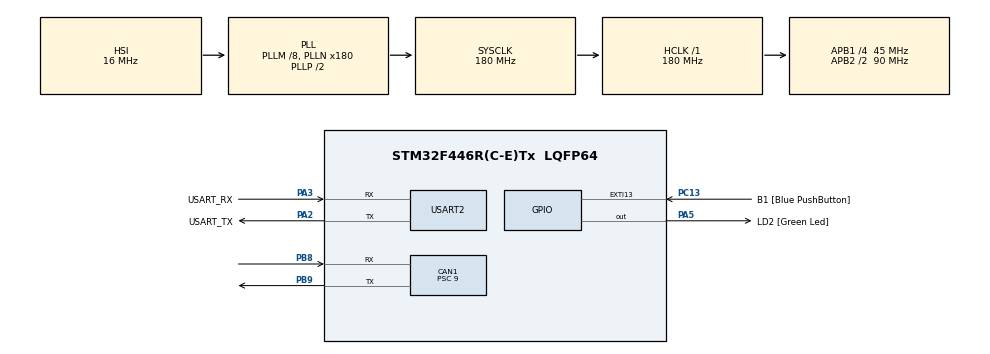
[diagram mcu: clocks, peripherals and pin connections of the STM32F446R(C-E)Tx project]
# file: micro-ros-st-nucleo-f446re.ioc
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CAN1.ABOM=ENABLE
CAN1.BS1=CAN_BS1_2TQ
CAN1.BS2=CAN_BS2_2TQ
CAN1.CalculateBaudRate=1000000
CAN1.CalculateTimeBit=1000
CAN1.CalculateTimeQuantum=200.0
CAN1.Prescaler=9
Dma.Request0=USART2_RX
Dma.Request1=USART2_TX
Dma.USART2_RX.0.Direction=DMA_PERIPH_TO_MEMORY
Dma.USART2_RX.0.FIFOMode=DMA_FIFOMODE_DISABLE
Dma.USART2_RX.0.Instance=DMA1_Stream5
Dma.USART2_RX.0.MemDataAlignment=DMA_MDATAALIGN_BYTE
Dma.USART2_RX.0.MemInc=DMA_MINC_ENABLE
Dma.USART2_RX.0.Mode=DMA_CIRCULAR
Dma.USART2_RX.0.PeriphDataAlignment=DMA_PDATAALIGN_BYTE
Dma.USART2_RX.0.PeriphInc=DMA_PINC_DISABLE
Dma.USART2_RX.0.Priority=DMA_PRIORITY_VERY_HIGH
Dma.USART2_TX.1.Direction=DMA_MEMORY_TO_PERIPH
Dma.USART2_TX.1.FIFOMode=DMA_FIFOMODE_DISABLE
Dma.USART2_TX.1.Instance=DMA1_Stream6
Dma.USART2_TX.1.MemDataAlignment=DMA_MDATAALIGN_BYTE
Dma.USART2_TX.1.MemInc=DMA_MINC_ENABLE
Dma.USART2_TX.1.Mode=DMA_NORMAL
Dma.USART2_TX.1.PeriphDataAlignment=DMA_PDATAALIGN_BYTE
Dma.USART2_TX.1.PeriphInc=DMA_PINC_DISABLE
Dma.USART2_TX.1.Priority=DMA_PRIORITY_LOW
FREERTOS.Tasks01=defaultTask,24,3000,StartDefaultTask,Default,NULL,Dynamic,NULL,NULL
FREERTOS.configUSE_NEWLIB_REENTRANT=1
Mcu.Family=STM32F4
Mcu.Name=STM32F446R(C-E)Tx
Mcu.Package=LQFP64
NVIC.CAN1_RX0_IRQn=true\:5\:0\:false\:false\:true\:true\:true\:true\:true
NVIC.DMA1_Stream5_IRQn=true\:5\:0\:false\:false\:true\:true\:false\:true\:true
NVIC.DMA1_Stream6_IRQn=true\:5\:0\:false\:false\:true\:true\:false\:true\:true
NVIC.PriorityGroup=NVIC_PRIORITYGROUP_4
NVIC.TIM6_DAC_IRQn=true\:15\:0\:false\:false\:true\:false\:false\:true\:true
NVIC.TimeBase=TIM6_DAC_IRQn
NVIC.TimeBaseIP=TIM6
NVIC.USART2_IRQn=true\:5\:0\:false\:false\:true\:true\:true\:true\:true
PA13.GPIO_Label=TMS
PA13.Mode=Serial_Wire
PA13.Signal=SYS_JTMS-SWDIO
PA14.GPIO_Label=TCK
PA14.Mode=Serial_Wire
PA14.Signal=SYS_JTCK-SWCLK
PA2.GPIO_Label=USART_TX
PA2.Mode=Asynchronous
PA2.Signal=USART2_TX
PA3.GPIO_Label=USART_RX
PA3.Mode=Asynchronous
PA3.Signal=USART2_RX
PA5.GPIO_Label=LD2 [Green Led]
PA5.Signal=GPIO_Output
PB3.GPIO_Label=SWO
PB3.Signal=SYS_JTDO-SWO
PB8.Mode=CAN_Activate
PB8.Signal=CAN1_RX
PB9.Mode=CAN_Activate
PB9.Signal=CAN1_TX
PC13.GPIO_Label=B1 [Blue PushButton]
PC13.GPIO_ModeDefaultEXTI=GPIO_MODE_IT_FALLING
PC13.Signal=GPXTI13
PC14-OSC32_IN.Mode=LSE-External-Oscillator
PC14-OSC32_IN.Signal=RCC_OSC32_IN
PC15-OSC32_OUT.Mode=LSE-External-Oscillator
PC15-OSC32_OUT.Signal=RCC_OSC32_OUT
PH0-OSC_IN.Mode=HSE-External-Oscillator
PH0-OSC_IN.Signal=RCC_OSC_IN
PH1-OSC_OUT.Mode=HSE-External-Oscillator
PH1-OSC_OUT.Signal=RCC_OSC_OUT
ProjectManager.HeapSize=0x200
ProjectManager.StackSize=0x400
ProjectManager.TargetToolchain=STM32CubeIDE
RCC.48MHZClocksFreq_Value=84000000
RCC.AHBFreq_Value=180000000
RCC.APB1CLKDivider=RCC_HCLK_DIV4
RCC.APB1Freq_Value=45000000
RCC.APB1TimFreq_Value=90000000
RCC.APB2CLKDivider=RCC_HCLK_DIV2
RCC.APB2Freq_Value=90000000
RCC.APB2TimFreq_Value=180000000
RCC.CortexFreq_Value=180000000
RCC.FLatency-AdvancedSettings=FLASH_LATENCY_5
RCC.HCLKFreq_Value=180000000
RCC.HSE_VALUE=8000000
RCC.HSI_VALUE=16000000
RCC.PLLM=8
RCC.PLLN=180
RCC.SYSCLKFreq_VALUE=180000000
RCC.SYSCLKSource=RCC_SYSCLKSOURCE_PLLCLK
RCC.USBFreq_Value=180000000
RCC.VCOOutputFreq_Value=360000000
USART2.VirtualMode=VM_ASYNC
VP_FREERTOS_VS_CMSIS_V2.Mode=CMSIS_V2
VP_SYS_VS_tim6.Mode=TIM6
board=NUCLEO-F446RE

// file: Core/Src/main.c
/* USER CODE BEGIN Header */
/**
  ******************************************************************************
  * @file           : main.c
  * @brief          : Main program body
  ******************************************************************************
  * @attention
  *
  * <h2><center>&copy; Copyright (c) 2021 STMicroelectronics.
  * All rights reserved.</center></h2>
  *
  * This software component is licensed by ST under BSD 3-Clause license,
  * the "License"; You may not use this file except in compliance with the
  * License. You may obtain a copy of the License at:
  *                        opensource.org/licenses/BSD-3-Clause
  *
  ******************************************************************************
  */
/* USER CODE END Header */
#include "main.h"
#include "cmsis_os.h"

/* USER CODE BEGIN Includes */
#include <rcl/rcl.h>
#include <rcl/error_handling.h>
#include <rclc/rclc.h>
#include <rclc/executor.h>
#include <uxr/client/transport.h>
#include <rmw_microxrcedds_c/config.h>
#include <rmw_microros/rmw_microros.h>

#include <std_msgs/msg/string.h>
#include <sensor_msgs/msg/imu.h>
#include <std_msgs/msg/float32_multi_array.h>

#include <stdio.h>
#include <string.h>

//#include "AK_60_task.h"
/* USER CODE END Includes */

/* USER CODE BEGIN PD */
#define ARRAY_LEN 200
#define RCCHECK(fn) { rcl_ret_t temp_rc = fn; if((temp_rc != RCL_RET_OK)){printf("Failed status on line %d: %d. Aborting.\n",__LINE__,(int)temp_rc); return 1;}}
#define RCSOFTCHECK(fn) { rcl_ret_t temp_rc = fn; if((temp_rc != RCL_RET_OK)){printf("Failed status on line %d: %d. Continuing.\n",__LINE__,(int)temp_rc);}}
/* USER CODE END PD */

/* USER CODE BEGIN PM */
rcl_publisher_t publisher_string;
rcl_publisher_t publisher_imu;
std_msgs__msg__String pub_str_msg;
sensor_msgs__msg__Imu pub_imu_msg;

// ADD-ON, Define the Message Variables
rcl_subscription_t subscriber_ak60;
std_msgs__msg__Float32MultiArray sub_ak60_msg;
rcl_publisher_t publisher_ak60;
std_msgs__msg__Float32MultiArray pub_ak60_msg;
/* USER CODE END PM */

 CAN_HandleTypeDef hcan1;

UART_HandleTypeDef huart2;
DMA_HandleTypeDef hdma_usart2_rx;
DMA_HandleTypeDef hdma_usart2_tx;

/* Definitions for defaultTask */
osThreadId_t defaultTaskHandle;
const osThreadAttr_t defaultTask_attributes = {
  .name = "defaultTask",
  .stack_size = 3000 * 4,
  .priority = (osPriority_t) osPriorityNormal,
};

void SystemClock_Config(void);
static void MX_GPIO_Init(void);
static void MX_DMA_Init(void);
static void MX_USART2_UART_Init(void);
static void MX_CAN1_Init(void);
void StartDefaultTask(void *argument);

/* USER CODE BEGIN 0 */
void subscription_str_callback(const void * msgin)
{
  std_msgs__msg__String * msg = (std_msgs__msg__String *)msgin;
  pub_str_msg = *msg;
  char str[100];
  strcpy(str, msg->data.data);
  sprintf(pub_str_msg.data.data, "F446RE heard: %s", str);
  pub_str_msg.data.size = strlen(pub_str_msg.data.data);
  rcl_publish(&publisher_string, &pub_str_msg, NULL);
  debug_led();
}

void subscription_imu_callback(const void * msgin)
{
  sensor_msgs__msg__Imu * msg = (sensor_msgs__msg__Imu *)msgin;
  pub_imu_msg = *msg;
  rcl_publish(&publisher_imu, &pub_imu_msg, NULL);
  debug_led();
}

// ADD-ON, Callback function
void subscription_ak60_callback(const void *msgin)
{
  const std_msgs__msg__Float32MultiArray *msg = (const std_msgs__msg__Float32MultiArray *)msgin;

  // Copy the data to the publisher message
  memcpy(pub_ak60_msg.data.data, msg->data.data, 12 * sizeof(float));

  // Publish the data
  rcl_publish(&publisher_ak60, &pub_ak60_msg, NULL);
//  debug_led();
}

void debug_led()
{
  HAL_GPIO_WritePin(GPIOA, GPIO_PIN_5, GPIO_PIN_SET); //LED turned on
  HAL_Delay(200); //Wait for 200[ms]
  HAL_GPIO_WritePin(GPIOA, GPIO_PIN_5, GPIO_PIN_RESET); //LED turned off
  HAL_Delay(200);
}
/* USER CODE END 0 */

int main(void)
{

  /* MCU Configuration--------------------------------------------------------*/

  /* Reset of all peripherals, Initializes the Flash interface and the Systick. */
  HAL_Init();

  /* Configure the system clock */
  SystemClock_Config();

  /* Initialize all configured peripherals */
  MX_GPIO_Init();
  MX_DMA_Init();
  MX_USART2_UART_Init();
  MX_CAN1_Init();

  /* Init scheduler */
  osKernelInitialize();

  /* Create the thread(s) */
  /* creation of defaultTask */
  defaultTaskHandle = osThreadNew(StartDefaultTask, NULL, &defaultTask_attributes);

  /* USER CODE BEGIN RTOS_THREADS */
  /* add threads, ... */
//  mainTask_nHandle = osThreadNew(mainTask, NULL, &mainTask_n_attributes);
  /* USER CODE END RTOS_THREADS */

  /* Start scheduler */
  osKernelStart();

  /* We should never get here as control is now taken by the scheduler */
  /* Infinite loop */
  while (1)
  {

  }
}

void SystemClock_Config(void)
{
  RCC_OscInitTypeDef RCC_OscInitStruct = {0};
  RCC_ClkInitTypeDef RCC_ClkInitStruct = {0};

  /** Configure the main internal regulator output voltage
  */
  __HAL_RCC_PWR_CLK_ENABLE();
  __HAL_PWR_VOLTAGESCALING_CONFIG(PWR_REGULATOR_VOLTAGE_SCALE1);

  /** Initializes the RCC Oscillators according to the specified parameters
  * in the RCC_OscInitTypeDef structure.
  */
  RCC_OscInitStruct.OscillatorType = RCC_OSCILLATORTYPE_HSI;
  RCC_OscInitStruct.HSIState = RCC_HSI_ON;
  RCC_OscInitStruct.HSICalibrationValue = RCC_HSICALIBRATION_DEFAULT;
  RCC_OscInitStruct.PLL.PLLState = RCC_PLL_ON;
  RCC_OscInitStruct.PLL.PLLSource = RCC_PLLSOURCE_HSI;
  RCC_OscInitStruct.PLL.PLLM = 8;
  RCC_OscInitStruct.PLL.PLLN = 180;
  RCC_OscInitStruct.PLL.PLLP = RCC_PLLP_DIV2;
  RCC_OscInitStruct.PLL.PLLQ = 2;
  RCC_OscInitStruct.PLL.PLLR = 2;
  if (HAL_RCC_OscConfig(&RCC_OscInitStruct) != HAL_OK)
  {
    Error_Handler();
  }

  /** Activate the Over-Drive mode
  */
  if (HAL_PWREx_EnableOverDrive() != HAL_OK)
  {
    Error_Handler();
  }

  /** Initializes the CPU, AHB and APB buses clocks
  */
  RCC_ClkInitStruct.ClockType = RCC_CLOCKTYPE_HCLK|RCC_CLOCKTYPE_SYSCLK
                              |RCC_CLOCKTYPE_PCLK1|RCC_CLOCKTYPE_PCLK2;
  RCC_ClkInitStruct.SYSCLKSource = RCC_SYSCLKSOURCE_PLLCLK;
  RCC_ClkInitStruct.AHBCLKDivider = RCC_SYSCLK_DIV1;
  RCC_ClkInitStruct.APB1CLKDivider = RCC_HCLK_DIV4;
  RCC_ClkInitStruct.APB2CLKDivider = RCC_HCLK_DIV2;

  if (HAL_RCC_ClockConfig(&RCC_ClkInitStruct, FLASH_LATENCY_5) != HAL_OK)
  {
    Error_Handler();
  }
}

static void MX_CAN1_Init(void)
{

  hcan1.Instance = CAN1;
  hcan1.Init.Prescaler = 9;
  hcan1.Init.Mode = CAN_MODE_NORMAL;
  hcan1.Init.SyncJumpWidth = CAN_SJW_1TQ;
  hcan1.Init.TimeSeg1 = CAN_BS1_2TQ;
  hcan1.Init.TimeSeg2 = CAN_BS2_2TQ;
  hcan1.Init.TimeTriggeredMode = DISABLE;
  hcan1.Init.AutoBusOff = ENABLE;
  hcan1.Init.AutoWakeUp = DISABLE;
  hcan1.Init.AutoRetransmission = DISABLE;
  hcan1.Init.ReceiveFifoLocked = DISABLE;
  hcan1.Init.TransmitFifoPriority = DISABLE;
  if (HAL_CAN_Init(&hcan1) != HAL_OK)
  {
    Error_Handler();
  }

}

static void MX_USART2_UART_Init(void)
{

  huart2.Instance = USART2;
  huart2.Init.BaudRate = 115200;
  huart2.Init.WordLength = UART_WORDLENGTH_8B;
  huart2.Init.StopBits = UART_STOPBITS_1;
  huart2.Init.Parity = UART_PARITY_NONE;
  huart2.Init.Mode = UART_MODE_TX_RX;
  huart2.Init.HwFlowCtl = UART_HWCONTROL_NONE;
  huart2.Init.OverSampling = UART_OVERSAMPLING_16;
  if (HAL_UART_Init(&huart2) != HAL_OK)
  {
    Error_Handler();
  }

}

static void MX_DMA_Init(void)
{

  /* DMA controller clock enable */
  __HAL_RCC_DMA1_CLK_ENABLE();

  /* DMA interrupt init */
  /* DMA1_Stream5_IRQn interrupt configuration */
  HAL_NVIC_SetPriority(DMA1_Stream5_IRQn, 5, 0);
  HAL_NVIC_EnableIRQ(DMA1_Stream5_IRQn);
  /* DMA1_Stream6_IRQn interrupt configuration */
  HAL_NVIC_SetPriority(DMA1_Stream6_IRQn, 5, 0);
  HAL_NVIC_EnableIRQ(DMA1_Stream6_IRQn);

}

static void MX_GPIO_Init(void)
{
  GPIO_InitTypeDef GPIO_InitStruct = {0};

  /* GPIO Ports Clock Enable */
  __HAL_RCC_GPIOC_CLK_ENABLE();
  __HAL_RCC_GPIOH_CLK_ENABLE();
  __HAL_RCC_GPIOA_CLK_ENABLE();
  __HAL_RCC_GPIOB_CLK_ENABLE();

  /*Configure GPIO pin Output Level */
  HAL_GPIO_WritePin(LD2_GPIO_Port, LD2_Pin, GPIO_PIN_RESET);

  /*Configure GPIO pin : B1_Pin */
  GPIO_InitStruct.Pin = B1_Pin;
  GPIO_InitStruct.Mode = GPIO_MODE_IT_FALLING;
  GPIO_InitStruct.Pull = GPIO_NOPULL;
  HAL_GPIO_Init(B1_GPIO_Port, &GPIO_InitStruct);

  /*Configure GPIO pin : LD2_Pin */
  GPIO_InitStruct.Pin = LD2_Pin;
  GPIO_InitStruct.Mode = GPIO_MODE_OUTPUT_PP;
  GPIO_InitStruct.Pull = GPIO_NOPULL;
  GPIO_InitStruct.Speed = GPIO_SPEED_FREQ_LOW;
  HAL_GPIO_Init(LD2_GPIO_Port, &GPIO_InitStruct);

}

/* USER CODE BEGIN 4 */
bool cubemx_transport_open(struct uxrCustomTransport * transport);
bool cubemx_transport_close(struct uxrCustomTransport * transport);
size_t cubemx_transport_write(struct uxrCustomTransport* transport, const uint8_t * buf, size_t len, uint8_t * err);
size_t cubemx_transport_read(struct uxrCustomTransport* transport, uint8_t* buf, size_t len, int timeout, uint8_t* err);

void * microros_allocate(size_t size, void * state);
void microros_deallocate(void * pointer, void * state);
void * microros_reallocate(void * pointer, size_t size, void * state);
void * microros_zero_allocate(size_t number_of_elements, size_t size_of_element, void * state);
/* USER CODE END 4 */

void StartDefaultTask(void *argument)
{
  /* USER CODE BEGIN 5 */
  // micro-ROS configuration
  char test_array[ARRAY_LEN];
  memset(test_array,'z',ARRAY_LEN);

  rmw_uros_set_custom_transport(
    true,
    (void *) &huart2,
    cubemx_transport_open,
    cubemx_transport_close,
    cubemx_transport_write,
    cubemx_transport_read);

  rcl_allocator_t freeRTOS_allocator = rcutils_get_zero_initialized_allocator();
  freeRTOS_allocator.allocate = microros_allocate;
  freeRTOS_allocator.deallocate = microros_deallocate;
  freeRTOS_allocator.reallocate = microros_reallocate;
  freeRTOS_allocator.zero_allocate =  microros_zero_allocate;

  if (!rcutils_set_default_allocator(&freeRTOS_allocator)) {
    printf("Error on default allocators (line %d)\n", __LINE__);
  }

  rcl_subscription_t subscriber_string, subscriber_imu;
  std_msgs__msg__String sub_str_msg;
  sensor_msgs__msg__Imu sub_imu_msg;
  rclc_support_t support;
  rcl_allocator_t allocator;
  rcl_node_t node;

  allocator = rcl_get_default_allocator();

  // create init_options
  RCCHECK(rclc_support_init(&support, 0, NULL, &allocator));

  // create node
  RCCHECK(rclc_node_init_default(&node, "f446re_node", "", &support));

  // create publisher
  RCCHECK(rclc_publisher_init_best_effort(
    &publisher_string,
    &node,
    ROSIDL_GET_MSG_TYPE_SUPPORT(std_msgs, msg, String),
    "/f446re_string_publisher"));

  RCCHECK(rclc_publisher_init_best_effort(
    &publisher_imu,
    &node,
    ROSIDL_GET_MSG_TYPE_SUPPORT(sensor_msgs, msg, Imu),
    "/f446re_imu_publisher"));

  // create subscriber
  RCCHECK(rclc_subscription_init_default(
    &subscriber_string,
    &node,
    ROSIDL_GET_MSG_TYPE_SUPPORT(std_msgs, msg, String),
    "/f446re_string_subscriber"));

  RCCHECK(rclc_subscription_init_default(
    &subscriber_imu,
    &node,
    ROSIDL_GET_MSG_TYPE_SUPPORT(sensor_msgs, msg, Imu),
    "/imu/data_raw"));

  // ADD-ON, Init publish and subscriber
  RCCHECK(rclc_subscription_init_best_effort(
    &subscriber_ak60,
    &node,
    ROSIDL_GET_MSG_TYPE_SUPPORT(std_msgs, msg, Float32MultiArray),
    "/AK_60_subscriber"));

  RCCHECK(rclc_publisher_init_best_effort(
    &publisher_ak60,
    &node,
    ROSIDL_GET_MSG_TYPE_SUPPORT(std_msgs, msg, Float32MultiArray),
    "/AK_60_publisher"));

  // create executor
  rclc_executor_t executor = rclc_executor_get_zero_initialized_executor();
  RCCHECK(rclc_executor_init(&executor, &support.context, 4, &allocator));
  RCCHECK(rclc_executor_add_subscription(&executor, &subscriber_string, &sub_str_msg, &subscription_str_callback, ON_NEW_DATA));
  RCCHECK(rclc_executor_add_subscription(&executor, &subscriber_imu, &sub_imu_msg, &subscription_imu_callback, ON_NEW_DATA));
  // ADD-ON, Add Subscriber to Executor
  RCCHECK(rclc_executor_add_subscription(&executor, &subscriber_ak60, &sub_ak60_msg, &subscription_ak60_callback, ON_NEW_DATA));

  // initialize message memory
  pub_str_msg.data.data = (char * ) malloc(ARRAY_LEN * sizeof(char));
  pub_str_msg.data.size = 0;
  pub_str_msg.data.capacity = ARRAY_LEN;

  pub_imu_msg.header.frame_id.capacity = 100;
  pub_imu_msg.header.frame_id.data =(char * ) malloc(100 * sizeof(char));
  pub_imu_msg.header.frame_id.size = 0;

  sub_str_msg.data.data = (char * ) malloc(ARRAY_LEN * sizeof(char));
  sub_str_msg.data.size = 0;
  sub_str_msg.data.capacity = ARRAY_LEN;

  sub_imu_msg.header.frame_id.capacity = 100;
  sub_imu_msg.header.frame_id.data =(char * ) malloc(100 * sizeof(char));
  sub_imu_msg.header.frame_id.size = 0;

  // ADD-ON, Initialize Message Memory
  sub_ak60_msg.data.data = (float *) malloc(12 * sizeof(float));
  sub_ak60_msg.data.size = 12;
  sub_ak60_msg.data.capacity = 12;

  pub_ak60_msg.data.data = (float *) malloc(12 * sizeof(float));
  pub_ak60_msg.data.size = 12;
  pub_ak60_msg.data.capacity = 12;

  // execute subscriber
  rclc_executor_spin(&executor);

  // cleaning Up
  RCCHECK(rcl_publisher_fini(&publisher_string, &node));
  RCCHECK(rcl_publisher_fini(&publisher_imu, &node));
  RCCHECK(rcl_subscription_fini(&subscriber_string, &node));
  RCCHECK(rcl_subscription_fini(&subscriber_imu, &node));
  RCCHECK(rcl_node_fini(&node));
  //ADD-ON, Clean up
  RCCHECK(rcl_publisher_fini(&publisher_ak60, &node));
  RCCHECK(rcl_subscription_fini(&subscriber_ak60, &node));
  /* USER CODE END 5 */
}

void HAL_TIM_PeriodElapsedCallback(TIM_HandleTypeDef *htim)
{
  if (htim->Instance == TIM6) {
    HAL_IncTick();
  }
}

void Error_Handler(void)
{
  __disable_irq();
  while (1)
  {
  }
}
